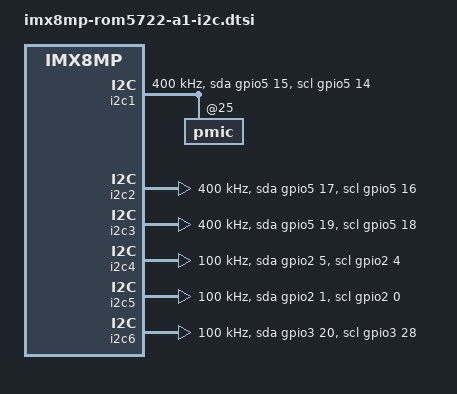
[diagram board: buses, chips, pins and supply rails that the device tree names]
&i2c1 {
        clock-frequency = <400000>;
        pinctrl-names = "default", "gpio";
        pinctrl-1 = <&pinctrl_i2c1_gpio>;
        scl-gpios = <&gpio5 14 GPIO_ACTIVE_HIGH>;
        sda-gpios = <&gpio5 15 GPIO_ACTIVE_HIGH>;
        status = "okay";

        pmic@25 {
            nxp,i2c-lt-enable;
        };
};

&i2c2 {
        clock-frequency = <400000>;
        pinctrl-names = "default", "gpio";
        pinctrl-1 = <&pinctrl_i2c2_gpio>;
        scl-gpios = <&gpio5 16 GPIO_ACTIVE_HIGH>;
        sda-gpios = <&gpio5 17 GPIO_ACTIVE_HIGH>;
        status = "okay";
};

&i2c3 {
        clock-frequency = <400000>;
        pinctrl-names = "default", "gpio";
        pinctrl-1 = <&pinctrl_i2c3_gpio>;
        scl-gpios = <&gpio5 18 GPIO_ACTIVE_HIGH>;
        sda-gpios = <&gpio5 19 GPIO_ACTIVE_HIGH>;
        status = "okay";
};

&i2c4 {
        clock-frequency = <100000>;
        pinctrl-names = "default", "gpio";
        pinctrl-0 = <&pinctrl_i2c4>;
        pinctrl-1 = <&pinctrl_i2c4_gpio>;
        scl-gpios = <&gpio2 4 GPIO_ACTIVE_HIGH>;
        sda-gpios = <&gpio2 5 GPIO_ACTIVE_HIGH>;
        status = "okay";

};

&i2c5 {
        clock-frequency = <100000>;
        pinctrl-names = "default", "gpio";
        pinctrl-1 = <&pinctrl_i2c5_gpio>;
        scl-gpios = <&gpio2 0 GPIO_ACTIVE_HIGH>;
        sda-gpios = <&gpio2 1 GPIO_ACTIVE_HIGH>;
        status = "okay";
};

&i2c6 {
        clock-frequency = <100000>;
        pinctrl-names = "default", "gpio";
        pinctrl-1 = <&pinctrl_i2c6_gpio>;
        scl-gpios = <&gpio3 28 GPIO_ACTIVE_HIGH>;
        sda-gpios = <&gpio3 20 GPIO_ACTIVE_HIGH>;
        status = "okay";
};

&iomuxc {

        pinctrl_i2c1: i2c1grp {
                fsl,pins = <
                        MX8MP_IOMUXC_I2C1_SCL__I2C1_SCL         0x400001c2
                        MX8MP_IOMUXC_I2C1_SDA__I2C1_SDA         0x400001c2
                >;
        };

        pinctrl_i2c1_gpio: i2c1_gpio_grp  {
                fsl,pins = <
                        MX8MP_IOMUXC_I2C1_SCL__GPIO5_IO14               0x10
                        MX8MP_IOMUXC_I2C1_SDA__GPIO5_IO15               0x10
                >;
        };

        pinctrl_i2c2: i2c2grp {
                fsl,pins = <
                        MX8MP_IOMUXC_I2C2_SCL__I2C2_SCL         0x400001c2
                        MX8MP_IOMUXC_I2C2_SDA__I2C2_SDA         0x400001c2
                >;
        };

        pinctrl_i2c2_gpio: i2c2_gpio_grp  {
                fsl,pins = <
                        MX8MP_IOMUXC_I2C2_SCL__GPIO5_IO16               0x10
                        MX8MP_IOMUXC_I2C2_SDA__GPIO5_IO17               0x10
                >;
        };

        pinctrl_i2c3: i2c3grp {
                fsl,pins = <
                        MX8MP_IOMUXC_I2C3_SCL__I2C3_SCL         0x400001c2
                        MX8MP_IOMUXC_I2C3_SDA__I2C3_SDA         0x400001c2
                >;
        };

        pinctrl_i2c3_gpio: i2c3_gpio_grp  {
                fsl,pins = <
                        MX8MP_IOMUXC_I2C3_SCL__GPIO5_IO18               0x10
                        MX8MP_IOMUXC_I2C3_SDA__GPIO5_IO19               0x10
                >;
        };

        pinctrl_i2c4: i2c4grp {
                fsl,pins = <
                        MX8MP_IOMUXC_SD1_DATA2__I2C4_SCL                0x400001c2
                        MX8MP_IOMUXC_SD1_DATA3__I2C4_SDA                0x400001c2
                >;
        };

        pinctrl_i2c4_gpio: i2c4_gpio_grp  {
                fsl,pins = <
                        MX8MP_IOMUXC_SD1_DATA2__GPIO2_IO04              0x10
                        MX8MP_IOMUXC_SD1_DATA3__GPIO2_IO05              0x10
                >;
        };

        pinctrl_i2c5: i2c5grp {
                fsl,pins = <
                        MX8MP_IOMUXC_SD1_CLK__I2C5_SCL                  0x400001c2
                        MX8MP_IOMUXC_SD1_CMD__I2C5_SDA                  0x400001c2
                >;
        };

        pinctrl_i2c5_gpio: i2c5_gpio_grp  {
                fsl,pins = <
                        MX8MP_IOMUXC_SD1_CLK__GPIO2_IO00                0x10
                        MX8MP_IOMUXC_SD1_CMD__GPIO2_IO01                0x10
                >;
        };

        pinctrl_i2c6: i2c6grp {
                fsl,pins = <
                        MX8MP_IOMUXC_HDMI_CEC__I2C6_SCL                 0x400001c2
                        MX8MP_IOMUXC_SAI5_RXC__I2C6_SDA                 0x400001c2
                >;
        };

        pinctrl_i2c6_gpio: i2c6_gpio_grp  {
                fsl,pins = <
                        MX8MP_IOMUXC_HDMI_CEC__GPIO3_IO28               0x10
                        MX8MP_IOMUXC_SAI5_RXC__GPIO3_IO20               0x10
                >;
        };


};

